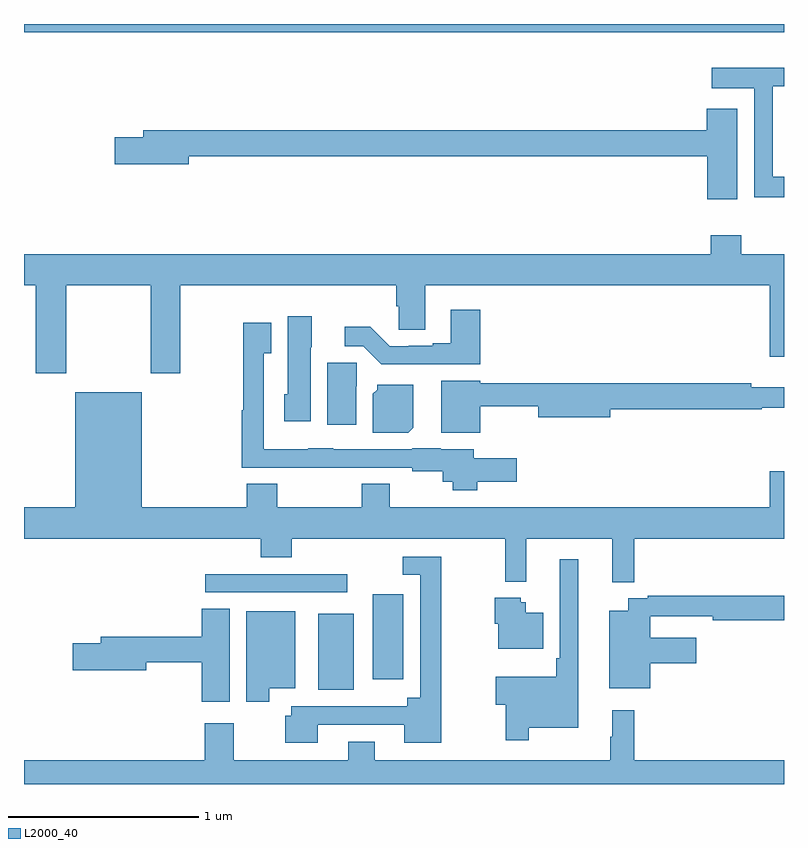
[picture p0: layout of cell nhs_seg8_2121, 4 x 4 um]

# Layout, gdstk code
import gdstk
lib = gdstk.Library(unit=1e-6, precision=1e-09)
def R(c, l, rs):  # rectangles x0, y0, x1, y1
    for r in rs: c.add(gdstk.rectangle(r[:2], r[2:], *l))
def P(c, l, *ps):  # polygons
    for p in ps: c.add(gdstk.Polygon(p, *l))
L2000_40 = (2000, 40)

nhs_seg8_2121 = lib.new_cell('nhs_seg8_2121')
R(nhs_seg8_2121, L2000_40, [(246.548,1090.397,246.736,1090.795), (246.836,1090.452,246.997,1090.9), (245.955,1090.908,246.7,1091.004), (245,1093.856,249,1093.9)])
P(nhs_seg8_2121, L2000_40, [(249,1093.095),(248.94,1093.095),(248.94,1093.572),(249,1093.572),(249,1093.67),(248.619,1093.67),(248.619,1093.562),(248.844,1093.562),(248.844,1092.987),(249,1092.987)],
  [(248.755,1093.453),(248.594,1093.453),(248.594,1093.34),(245.627,1093.34),(245.627,1093.304),(245.478,1093.304),(245.478,1093.162),(245.866,1093.162),(245.866,1093.204),(248.597,1093.204),(248.597,1092.978),(248.755,1092.978)],
  [(245.223,1092.524),(245.668,1092.524),(245.668,1092.063),(245.823,1092.063),(245.823,1092.524),(246.959,1092.524),(246.959,1092.414),(246.972,1092.414),(246.972,1092.292),(247.111,1092.292),(247.111,1092.524),(248.924,1092.524),(248.924,1092.15),(249,1092.15),(249,1092.688),(248.775,1092.688),(248.775,1092.787),(248.615,1092.787),(248.615,1092.688),(245,1092.688),(245,1092.524),(245.063,1092.524),(245.063,1092.063),(245.223,1092.063)],
  [(247.4,1092.397),(247.247,1092.397),(247.247,1092.22),(247.151,1092.22),(247.151,1092.207),(247.024,1092.207),(247.024,1092.204),(246.924,1092.204),(246.822,1092.307),(246.687,1092.307),(246.687,1092.204),(246.786,1092.204),(246.88,1092.11),(247.4,1092.11)],
  [(246.508,1092.198),(246.514,1092.198),(246.514,1092.361),(246.389,1092.361),(246.389,1091.952),(246.371,1091.952),(246.371,1091.808),(246.508,1091.808)],
  [(247.385,1091.492),(247.594,1091.492),(247.594,1091.614),(247.366,1091.614),(247.366,1091.662),(247.194,1091.662),(247.194,1091.668),(247.044,1091.668),(247.044,1091.661),(246.627,1091.661),(246.627,1091.668),(246.495,1091.668),(246.495,1091.662),(246.261,1091.662),(246.261,1092.167),(246.301,1092.167),(246.301,1092.328),(246.153,1092.328),(246.153,1091.868),(246.145,1091.868),(246.145,1091.565),(246.395,1091.565),(246.395,1091.564),(246.627,1091.564),(246.627,1091.565),(247.044,1091.565),(247.044,1091.546),(247.205,1091.546),(247.205,1091.492),(247.257,1091.492),(247.257,1091.447),(247.385,1091.447)],
  [(246.748,1091.994),(246.752,1091.994),(246.752,1092.117),(246.596,1092.117),(246.596,1091.79),(246.748,1091.79)],
  [(247.402,1091.887),(247.706,1091.887),(247.706,1091.83),(248.086,1091.83),(248.086,1091.872),(248.882,1091.872),(248.882,1091.88),(249,1091.88),(249,1091.989),(248.828,1091.989),(248.828,1092.008),(247.402,1092.008),(247.402,1092.022),(247.196,1092.022),(247.196,1091.75),(247.402,1091.75)],
  [(247.048,1091.776),(247.048,1092.001),(246.858,1092.001),(246.858,1091.976),(246.836,1091.954),(246.836,1091.75),(247.022,1091.75)],
  [(246.173,1091.48),(246.173,1091.356),(245.62,1091.356),(245.62,1091.962),(245.27,1091.962),(245.27,1091.356),(245,1091.356),(245,1091.192),(246.245,1091.192),(246.245,1091.093),(246.41,1091.093),(246.41,1091.192),(247.533,1091.192),(247.533,1090.964),(247.643,1090.964),(247.643,1091.192),(248.096,1091.192),(248.096,1090.963),(248.213,1090.963),(248.213,1091.192),(249,1091.192),(249,1091.545),(248.924,1091.545),(248.924,1091.356),(246.925,1091.356),(246.925,1091.48),(246.778,1091.48),(246.778,1091.356),(246.333,1091.356),(246.333,1091.48)],
  [(246.547,1090.212),(247.001,1090.212),(247.001,1090.118),(247.195,1090.118),(247.195,1091.097),(246.993,1091.097),(246.993,1091.001),(247.086,1091.001),(247.086,1090.354),(247.016,1090.354),(247.016,1090.308),(246.407,1090.308),(246.407,1090.258),(246.374,1090.258),(246.374,1090.118),(246.547,1090.118)],
  [(247.657,1090.196),(247.918,1090.196),(247.918,1091.083),(247.821,1091.083),(247.821,1090.561),(247.801,1090.561),(247.801,1090.465),(247.484,1090.465),(247.484,1090.318),(247.536,1090.318),(247.536,1090.131),(247.657,1090.131)],
  [(248.296,1090.535),(248.539,1090.535),(248.539,1090.669),(248.296,1090.669),(248.296,1090.782),(248.626,1090.782),(248.626,1090.762),(249,1090.762),(249,1090.891),(248.284,1090.891),(248.284,1090.878),(248.18,1090.878),(248.18,1090.813),(248.081,1090.813),(248.081,1090.403),(248.296,1090.403)],
  [(247.732,1090.801),(247.642,1090.801),(247.642,1090.857),(247.614,1090.857),(247.614,1090.879),(247.477,1090.879),(247.477,1090.743),(247.496,1090.743),(247.496,1090.613),(247.732,1090.613)],
  [(246.082,1090.823),(245.936,1090.823),(245.936,1090.676),(245.405,1090.676),(245.405,1090.64),(245.256,1090.64),(245.256,1090.498),(245.644,1090.498),(245.644,1090.54),(245.936,1090.54),(245.936,1090.332),(246.082,1090.332)],
  [(246.292,1090.403),(246.427,1090.403),(246.427,1090.81),(246.17,1090.81),(246.17,1090.332),(246.292,1090.332)],
  [(249,1090.024),(248.213,1090.024),(248.213,1090.288),(248.096,1090.288),(248.096,1090.148),(248.085,1090.148),(248.085,1090.024),(246.847,1090.024),(246.847,1090.123),(246.707,1090.123),(246.707,1090.024),(246.103,1090.024),(246.103,1090.219),(245.951,1090.219),(245.951,1090.024),(245,1090.024),(245,1089.9),(249,1089.9)])

lib.write_gds('nhs_seg8_2121.gds')
